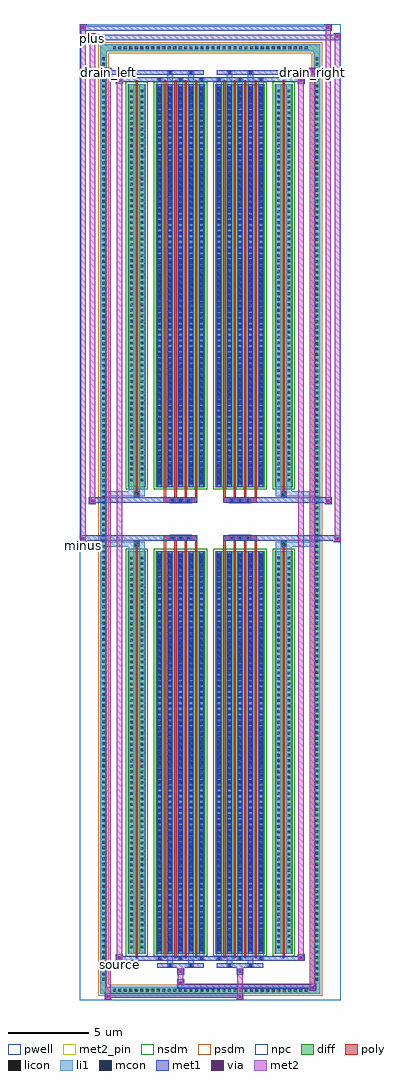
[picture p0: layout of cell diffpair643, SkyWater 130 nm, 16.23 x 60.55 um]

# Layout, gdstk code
import gdstk
lib = gdstk.Library(unit=1e-6, precision=5e-09)
def R(c, l, rs):  # rectangles x0, y0, x1, y1
    for r in rs: c.add(gdstk.rectangle(r[:2], r[2:], *l))
def A(c, l, x, y, w, h, nx, ny, dx, dy):  # array of equal rectangles
    R(c, l, [(x+i*dx, y+j*dy, x+i*dx+w, y+j*dy+h) for i in range(nx) for j in range(ny)])
def P(c, l, *ps):  # polygons
    for p in ps: c.add(gdstk.Polygon(p, *l))
pwell = (64, 44)
diff = (65, 20)
poly = (66, 20)
licon = (66, 44)
li1 = (67, 20)
mcon = (67, 44)
met1 = (68, 20)
via = (68, 44)
met2_pin = (69, 16)
met2 = (69, 20)
nsdm = (93, 44)
psdm = (94, 20)
npc = (95, 20)

diffpair643 = lib.new_cell('diffpair643')
R(diffpair643, pwell, [(-8.1,-29.84,8.1,30.71), (-5.42,-28.03,-0.01,-0.805), (0.01,-28.03,5.42,-0.805), (-5.42,0.805,-0.01,28.03), (0.01,0.805,5.42,28.03)])
A(diffpair643, diff, -6.155, -29.44, 0.41, 0.41, 36, 2, 0.34, 58.47)
A(diffpair643, diff, -6.83, -28.765, 0.41, 0.41, 1, 169, 0, 0.34)
A(diffpair643, diff, 6.42, -28.765, 0.41, 0.41, 1, 169, 0, 0.34)
R(diffpair643, diff, [(-6.155,-29.44,6.155,-29.03), (-6.83,-28.765,-6.42,28.765), (6.42,-28.765,6.83,28.765), (-5.11,-26.985,-4.01,-1.985), (-3.37,-26.985,-0.32,-1.985), (0.32,-26.985,3.37,-1.985), (4.01,-26.985,5.11,-1.985), (-5.11,1.985,-4.01,26.985), (-3.37,1.985,-0.32,26.985), (0.32,1.985,3.37,26.985), (4.01,1.985,5.11,26.985), (-6.155,29.03,6.155,29.44)])
P(diffpair643, diff, [(6.83,29.44),(-6.83,29.44),(-6.83,-29.03),(-6.42,-29.03),(-6.42,29.03),(6.42,29.03),(6.42,-29.03),(-6.42,-29.03),(-6.83,-29.03),(-6.83,-29.44),(6.83,-29.44)])
A(diffpair643, poly, -2.895, -27.235, 0.15, 25.5, 4, 2, 0.65, 28.97)
A(diffpair643, poly, 0.795, -27.235, 0.15, 25.5, 4, 2, 0.65, 28.97)
A(diffpair643, poly, -2.895, -1.735, 0.15, 0.4, 4, 2, 0.65, 3.07)
A(diffpair643, poly, 0.795, -1.735, 0.15, 0.4, 4, 2, 0.65, 3.07)
A(diffpair643, poly, -2.51, -1.335, 0.33, 0.33, 3, 2, 0.5, 2.34)
A(diffpair643, poly, 1.18, -1.335, 0.33, 0.33, 3, 2, 0.5, 2.34)
R(diffpair643, poly, [(-4.635,-27.235,-4.485,-1.735), (4.485,-27.235,4.635,-1.735), (-4.725,-1.735,-4.395,-1.405), (-4.725,-1.735,-4.395,-1.405), (4.395,-1.735,4.725,-1.405), (4.395,-1.735,4.725,-1.405), (-2.895,-1.335,-0.795,-1.005), (0.795,-1.335,2.895,-1.005), (-2.895,1.005,-0.795,1.335), (0.795,1.005,2.895,1.335), (-4.725,1.405,-4.395,1.735), (-4.725,1.405,-4.395,1.735), (4.395,1.405,4.725,1.735), (4.395,1.405,4.725,1.735), (-4.635,1.735,-4.485,27.235), (4.485,1.735,4.635,27.235)])
A(diffpair643, licon, -6.035, -29.32, 0.17, 0.17, 36, 2, 0.34, 58.47)
A(diffpair643, licon, -6.71, -28.645, 0.17, 0.17, 1, 169, 0, 0.34)
A(diffpair643, licon, 6.54, -28.645, 0.17, 0.17, 1, 169, 0, 0.34)
A(diffpair643, licon, -4.97, -26.64, 0.17, 0.17, 1, 72, 0, 0.34)
A(diffpair643, licon, -4.32, -26.64, 0.17, 0.17, 1, 72, 0, 0.34)
A(diffpair643, licon, -3.23, -26.64, 0.17, 0.17, 5, 72, 0.65, 0.34)
A(diffpair643, licon, 0.46, -26.64, 0.17, 0.17, 5, 72, 0.65, 0.34)
A(diffpair643, licon, 4.15, -26.64, 0.17, 0.17, 1, 72, 0, 0.34)
A(diffpair643, licon, 4.8, -26.64, 0.17, 0.17, 1, 72, 0, 0.34)
A(diffpair643, licon, -2.43, -1.255, 0.17, 0.17, 3, 2, 0.5, 2.34)
A(diffpair643, licon, 1.26, -1.255, 0.17, 0.17, 3, 2, 0.5, 2.34)
A(diffpair643, licon, -4.97, 2.33, 0.17, 0.17, 1, 72, 0, 0.34)
A(diffpair643, licon, -4.32, 2.33, 0.17, 0.17, 1, 72, 0, 0.34)
A(diffpair643, licon, -3.23, 2.33, 0.17, 0.17, 5, 72, 0.65, 0.34)
A(diffpair643, licon, 0.46, 2.33, 0.17, 0.17, 5, 72, 0.65, 0.34)
A(diffpair643, licon, 4.15, 2.33, 0.17, 0.17, 1, 72, 0, 0.34)
A(diffpair643, licon, 4.8, 2.33, 0.17, 0.17, 1, 72, 0, 0.34)
R(diffpair643, licon, [(-4.645,-1.655,-4.475,-1.485), (4.475,-1.655,4.645,-1.485), (-4.645,1.485,-4.475,1.655), (4.475,1.485,4.645,1.655)])
A(diffpair643, li1, -6.115, -29.4, 0.33, 0.33, 36, 2, 0.34, 58.47)
A(diffpair643, li1, -6.79, -28.725, 0.33, 0.33, 1, 169, 0, 0.34)
A(diffpair643, li1, 6.46, -28.725, 0.33, 0.33, 1, 169, 0, 0.34)
A(diffpair643, li1, -3.31, -27.36, 0.33, 0.375, 3, 2, 1.3, 54.345)
A(diffpair643, li1, -3.23, -27.36, 0.17, 0.17, 3, 2, 1.3, 54.55)
A(diffpair643, li1, 0.38, -27.36, 0.33, 0.375, 3, 2, 1.3, 54.345)
A(diffpair643, li1, 0.46, -27.36, 0.17, 0.17, 3, 2, 1.3, 54.55)
A(diffpair643, li1, -3.31, -26.985, 0.33, 25, 5, 2, 0.65, 28.97)
A(diffpair643, li1, 0.38, -26.985, 0.33, 25, 5, 2, 0.65, 28.97)
A(diffpair643, li1, -3.23, -26.81, 0.17, 0.17, 5, 69, 0.65, 0.36)
A(diffpair643, li1, -3.23, -26.81, 0.17, 24.65, 5, 2, 0.65, 28.97)
A(diffpair643, li1, 0.46, -26.81, 0.17, 0.17, 5, 69, 0.65, 0.36)
A(diffpair643, li1, 0.46, -26.81, 0.17, 24.65, 5, 2, 0.65, 28.97)
A(diffpair643, li1, -5.05, -26.72, 0.33, 0.33, 1, 72, 0, 0.34)
A(diffpair643, li1, -4.4, -26.72, 0.33, 0.33, 1, 72, 0, 0.34)
A(diffpair643, li1, -3.31, -26.72, 0.33, 0.33, 5, 72, 0.65, 0.34)
A(diffpair643, li1, 0.38, -26.72, 0.33, 0.33, 5, 72, 0.65, 0.34)
A(diffpair643, li1, 4.07, -26.72, 0.33, 0.33, 1, 72, 0, 0.34)
A(diffpair643, li1, 4.72, -26.72, 0.33, 0.33, 1, 72, 0, 0.34)
A(diffpair643, li1, -2.51, -1.335, 0.33, 0.33, 3, 2, 0.5, 2.34)
A(diffpair643, li1, 1.18, -1.335, 0.33, 0.33, 3, 2, 0.5, 2.34)
A(diffpair643, li1, -3.23, 2.16, 0.17, 0.17, 5, 69, 0.65, 0.36)
A(diffpair643, li1, 0.46, 2.16, 0.17, 0.17, 5, 69, 0.65, 0.36)
A(diffpair643, li1, -5.05, 2.25, 0.33, 0.33, 1, 72, 0, 0.34)
A(diffpair643, li1, -4.4, 2.25, 0.33, 0.33, 1, 72, 0, 0.34)
A(diffpair643, li1, -3.31, 2.25, 0.33, 0.33, 5, 72, 0.65, 0.34)
A(diffpair643, li1, 0.38, 2.25, 0.33, 0.33, 5, 72, 0.65, 0.34)
A(diffpair643, li1, 4.07, 2.25, 0.33, 0.33, 1, 72, 0, 0.34)
A(diffpair643, li1, 4.72, 2.25, 0.33, 0.33, 1, 72, 0, 0.34)
R(diffpair643, li1, [(-6.83,-29.44,-6.42,-29.03), (-6.83,-29.44,-6.42,-29.03), (-6.42,-29.44,6.42,-29.03), (6.42,-29.44,6.83,-29.03), (6.42,-29.44,6.83,-29.03), (-6.83,-29.03,-6.42,29.03), (6.42,-29.03,6.83,29.03), (-2.66,-27.79,-2.33,-26.985), (-2.58,-27.79,-2.41,-27.62), (-1.36,-27.79,-1.03,-26.985), (-1.28,-27.79,-1.11,-27.62), (1.03,-27.79,1.36,-26.985), (1.11,-27.79,1.28,-27.62), (2.33,-27.79,2.66,-26.985), (2.41,-27.79,2.58,-27.62), (-5.05,-26.985,-4.72,-1.985), (-4.4,-26.985,-4.07,-1.985), (4.07,-26.985,4.4,-1.985), (4.72,-26.985,5.05,-1.985), (-5.05,-1.985,-4.72,-1.405), (-4.4,-1.985,-4.07,-1.405), (4.07,-1.985,4.4,-1.405), (4.72,-1.985,5.05,-1.405), (-6.83,-1.735,-4.725,-1.405), (-5.05,-1.735,-4.725,-1.405), (-4.725,-1.735,-4.395,-1.405), (-4.395,-1.735,-4.07,-1.405), (4.07,-1.735,4.395,-1.405), (4.395,-1.735,4.725,-1.405), (4.395,-1.735,6.83,-1.405), (4.725,-1.735,5.05,-1.405), (-6.83,1.405,-4.725,1.735), (-5.05,1.405,-4.725,1.735), (-5.05,1.405,-4.72,1.985), (-4.725,1.405,-4.395,1.735), (-4.4,1.405,-4.07,1.985), (-4.395,1.405,-4.07,1.735), (4.07,1.405,4.395,1.735), (4.07,1.405,4.4,1.985), (4.395,1.405,4.725,1.735), (4.395,1.405,6.83,1.735), (4.72,1.405,5.05,1.985), (4.725,1.405,5.05,1.735), (-5.05,1.985,-4.72,26.985), (-4.4,1.985,-4.07,26.985), (4.07,1.985,4.4,26.985), (4.72,1.985,5.05,26.985), (-2.66,26.985,-2.33,27.79), (-1.36,26.985,-1.03,27.79), (1.03,26.985,1.36,27.79), (2.33,26.985,2.66,27.79), (-2.58,27.62,-2.41,27.79), (-1.28,27.62,-1.11,27.79), (1.11,27.62,1.28,27.79), (2.41,27.62,2.58,27.79), (-6.83,29.03,-6.42,29.44), (-6.83,29.03,-6.42,29.44), (-6.42,29.03,6.42,29.44), (6.42,29.03,6.83,29.44), (6.42,29.03,6.83,29.44)])
A(diffpair643, mcon, -3.23, -27.36, 0.17, 0.17, 3, 2, 1.3, 54.55)
A(diffpair643, mcon, 0.46, -27.36, 0.17, 0.17, 3, 2, 1.3, 54.55)
A(diffpair643, mcon, -3.23, -26.81, 0.17, 0.17, 5, 69, 0.65, 0.36)
A(diffpair643, mcon, 0.46, -26.81, 0.17, 0.17, 5, 69, 0.65, 0.36)
A(diffpair643, mcon, -2.43, -1.255, 0.17, 0.17, 3, 2, 0.5, 2.34)
A(diffpair643, mcon, 1.26, -1.255, 0.17, 0.17, 3, 2, 0.5, 2.34)
A(diffpair643, mcon, -3.23, 2.16, 0.17, 0.17, 5, 69, 0.65, 0.36)
A(diffpair643, mcon, 0.46, 2.16, 0.17, 0.17, 5, 69, 0.65, 0.36)
R(diffpair643, mcon, [(-2.58,-27.79,-2.41,-27.62), (-1.28,-27.79,-1.11,-27.62), (1.11,-27.79,1.28,-27.62), (2.41,-27.79,2.58,-27.62), (-2.58,27.62,-2.41,27.79), (-1.28,27.62,-1.11,27.79), (1.11,27.62,1.28,27.79), (2.41,27.62,2.58,27.79)])
A(diffpair643, met1, -3.29, -27.42, 0.29, 0.29, 3, 2, 1.3, 54.55)
A(diffpair643, met1, 0.4, -27.42, 0.29, 0.29, 3, 2, 1.3, 54.55)
A(diffpair643, met1, -3.29, -26.985, 0.29, 25, 5, 2, 0.65, 28.97)
A(diffpair643, met1, 0.4, -26.985, 0.29, 25, 5, 2, 0.65, 28.97)
A(diffpair643, met1, -3.29, -26.87, 0.29, 0.29, 5, 69, 0.65, 0.36)
A(diffpair643, met1, 0.4, -26.87, 0.29, 0.29, 5, 69, 0.65, 0.36)
A(diffpair643, met1, -2.49, -1.315, 0.29, 0.29, 3, 2, 0.5, 2.34)
A(diffpair643, met1, 1.2, -1.315, 0.29, 0.29, 3, 2, 0.5, 2.34)
A(diffpair643, met1, -3.29, 2.1, 0.29, 0.29, 5, 69, 0.65, 0.36)
A(diffpair643, met1, 0.4, 2.1, 0.29, 0.29, 5, 69, 0.65, 0.36)
R(diffpair643, met1, [(-6.56,-29.84,-6.13,-29.41), (1.63,-29.84,2.06,-29.41), (-6.56,-29.7,2.06,-29.41), (6.13,-29.27,6.56,-28.84), (-2.06,-29.13,6.56,-28.84), (-2.06,-28.99,-1.63,-28.56), (-2.06,-28.28,-1.63,-27.85), (1.63,-28.28,2.06,-27.85), (-3.29,-27.85,-0.4,-27.56), (-2.64,-27.85,-2.35,-27.56), (-1.34,-27.85,-1.05,-27.56), (0.4,-27.85,3.29,-27.56), (1.05,-27.85,1.34,-27.56), (2.35,-27.85,2.64,-27.56), (-5.85,-27.42,-5.42,-26.99), (-5.85,-27.42,-3.29,-27.13), (-3.29,-27.42,-0.4,-27.13), (-0.4,-27.42,0.4,-27.13), (0.4,-27.42,3.29,-27.13), (3.29,-27.42,5.85,-27.13), (5.42,-27.42,5.85,-26.99), (-8.1,-1.435,-7.67,-1.005), (7.67,-1.435,8.1,-1.005), (-8.1,-1.335,-0.795,-1.005), (-2.895,-1.335,-0.795,-1.005), (0.795,-1.335,2.895,-1.005), (0.795,-1.335,8.1,-1.005), (-7.53,0.905,-7.1,1.335), (7.1,0.905,7.53,1.335), (-7.53,1.005,-2.895,1.335), (-2.895,1.005,-0.795,1.335), (0.795,1.005,2.895,1.335), (2.895,1.005,7.53,1.335), (-5.85,26.99,-5.42,27.42), (5.42,26.99,5.85,27.42), (-5.85,27.13,-3.29,27.42), (-3.29,27.13,-0.4,27.42), (-0.4,27.13,0.4,27.42), (0.4,27.13,3.29,27.42), (3.29,27.13,5.85,27.42), (-6.56,27.56,-6.13,27.99), (-6.56,27.56,-3.29,27.85), (-3.29,27.56,-0.4,27.85), (-2.64,27.56,-2.35,27.85), (-1.34,27.56,-1.05,27.85), (0.4,27.56,3.29,27.85), (1.05,27.56,1.34,27.85), (2.35,27.56,2.64,27.85), (3.29,27.56,6.56,27.85), (6.13,27.56,6.56,27.99), (-7.53,29.71,-7.1,30.14), (-7.53,29.71,-5.42,30.04), (-5.42,29.71,5.42,30.04), (5.42,29.71,8.1,30.04), (7.67,29.71,8.1,30.14), (-8.1,30.28,-7.67,30.71), (-8.1,30.28,-5.42,30.61), (-5.42,30.28,5.42,30.61), (5.42,30.28,7.53,30.61), (7.1,30.28,7.53,30.71)])
R(diffpair643, via, [(-6.42,-29.7,-6.27,-29.55), (1.77,-29.7,1.92,-29.55), (6.27,-29.13,6.42,-28.98), (-1.92,-28.85,-1.77,-28.7), (-1.92,-28.14,-1.77,-27.99), (1.77,-28.14,1.92,-27.99), (-5.71,-27.28,-5.56,-27.13), (5.56,-27.28,5.71,-27.13), (-7.96,-1.295,-7.81,-1.145), (7.81,-1.295,7.96,-1.145), (-7.39,1.045,-7.24,1.195), (7.24,1.045,7.39,1.195), (-5.71,27.13,-5.56,27.28), (5.56,27.13,5.71,27.28), (-6.42,27.7,-6.27,27.85), (6.27,27.7,6.42,27.85), (-7.39,29.85,-7.24,30), (7.81,29.85,7.96,30), (-7.96,30.42,-7.81,30.57), (7.24,30.42,7.39,30.57)])
R(diffpair643, met2_pin, [(-5.885,-27.87,-5.385,-27.37), (-8.135,-1.885,-7.635,-1.385), (-6.595,27.44,-6.095,27.94), (6.095,27.44,6.595,27.94), (-7.565,29.59,-7.065,30.09)])
R(diffpair643, met2, [(-6.51,-29.79,-6.18,-29.46), (-6.51,-29.79,-6.18,27.94), (1.68,-29.79,2.01,-29.46), (1.68,-29.46,2.01,-28.23), (6.18,-29.22,6.51,-28.89), (6.18,-29.22,6.51,27.94), (-2.01,-28.94,-1.68,-28.61), (-2.01,-28.61,-1.68,-28.23), (-2.01,-28.23,-1.68,-27.9), (1.68,-28.23,2.01,-27.9), (-5.8,-27.37,-5.47,-27.04), (-5.8,-27.37,-5.47,27.37), (5.47,-27.37,5.8,-27.04), (5.47,-27.37,5.8,27.37), (-8.05,-1.385,-7.72,-1.055), (-8.05,-1.385,-7.72,30.66), (7.72,-1.385,8.05,-1.055), (7.72,-1.385,8.05,30.09), (-7.48,0.955,-7.15,1.285), (-7.48,0.955,-7.15,30.09), (7.15,0.955,7.48,1.285), (7.15,0.955,7.48,30.66), (-5.8,27.04,-5.47,27.37), (5.47,27.04,5.8,27.37), (-6.51,27.61,-6.18,27.94), (6.18,27.61,6.51,27.94), (-7.48,29.76,-7.15,30.09), (7.72,29.76,8.05,30.09), (-8.05,30.33,-7.72,30.66), (7.15,30.33,7.48,30.66)])
P(diffpair643, met2, [(8.05,-1.385),(8.05,-1.385),(8.05,-1.055),(8.05,-1.055)],
  [(8.05,29.76),(8.05,29.76),(8.05,30.09),(8.05,30.09)],
  [(-7.72,-1.385),(-7.72,-1.385),(-7.72,-1.055),(-7.72,-1.055)],
  [(-7.72,30.33),(-7.72,30.33),(-7.72,30.66),(-7.72,30.66)],
  [(7.48,0.955),(7.48,0.955),(7.48,1.285),(7.48,1.285)],
  [(7.48,30.33),(7.48,30.33),(7.48,30.66),(7.48,30.66)],
  [(-7.15,0.955),(-7.15,0.955),(-7.15,1.285),(-7.15,1.285)],
  [(-7.15,29.76),(-7.15,29.76),(-7.15,30.09),(-7.15,30.09)],
  [(-6.18,-29.79),(-6.18,-29.79),(-6.18,-29.46),(-6.18,-29.46)],
  [(-6.18,27.61),(-6.18,27.61),(-6.18,27.94),(-6.18,27.94)],
  [(6.51,-29.22),(6.51,-29.22),(6.51,-28.89),(6.51,-28.89)],
  [(6.51,27.61),(6.51,27.61),(6.51,27.94),(6.51,27.94)],
  [(-5.47,-27.37),(-5.47,-27.37),(-5.47,-27.04),(-5.47,-27.04)],
  [(-5.47,27.04),(-5.47,27.04),(-5.47,27.37),(-5.47,27.37)],
  [(5.8,-27.37),(5.8,-27.37),(5.8,-27.04),(5.8,-27.04)],
  [(5.8,27.04),(5.8,27.04),(5.8,27.37),(5.8,27.37)])
R(diffpair643, nsdm, [(-5.24,-27.115,-3.88,-1.855), (-3.5,-27.115,-0.19,-1.855), (0.19,-27.115,3.5,-1.855), (3.88,-27.115,5.24,-1.855), (-5.24,1.855,-3.88,27.115), (-3.5,1.855,-0.19,27.115), (0.19,1.855,3.5,27.115), (3.88,1.855,5.24,27.115)])
P(diffpair643, psdm, [(6.96,29.57),(-6.96,29.57),(-6.96,-28.9),(-6.29,-28.9),(-6.29,28.9),(6.29,28.9),(6.29,-28.9),(-6.29,-28.9),(-6.96,-28.9),(-6.96,-29.57),(6.96,-29.57)])
A(diffpair643, npc, -2.53, -1.355, 0.37, 0.37, 3, 2, 0.5, 2.34)
A(diffpair643, npc, 1.16, -1.355, 0.37, 0.37, 3, 2, 0.5, 2.34)
R(diffpair643, npc, [(-4.745,-1.755,-4.375,-1.385), (4.375,-1.755,4.745,-1.385), (-2.53,-1.355,-1.66,-0.985), (-2.53,-1.355,-1.66,-0.985), (-2.03,-1.355,-1.16,-0.985), (-2.03,-1.355,-1.16,-0.985), (1.16,-1.355,2.03,-0.985), (1.16,-1.355,2.03,-0.985), (1.66,-1.355,2.53,-0.985), (1.66,-1.355,2.53,-0.985), (-2.53,0.985,-1.66,1.355), (-2.53,0.985,-1.66,1.355), (-2.03,0.985,-1.16,1.355), (-2.03,0.985,-1.16,1.355), (1.16,0.985,2.03,1.355), (1.16,0.985,2.03,1.355), (1.66,0.985,2.53,1.355), (1.66,0.985,2.53,1.355), (-4.745,1.385,-4.375,1.755), (4.375,1.385,4.745,1.755)])
diffpair643.add(gdstk.Label('minus', (-7.885,-1.635), layer=69, texttype=5))
diffpair643.add(gdstk.Label('drain_right', (6.345,27.69), layer=69, texttype=5))
diffpair643.add(gdstk.Label('drain_left', (-6.345,27.69), layer=69, texttype=5))
diffpair643.add(gdstk.Label('source', (-5.635,-27.62), layer=69, texttype=5))
diffpair643.add(gdstk.Label('plus', (-7.315,29.84), layer=69, texttype=5))

lib.write_gds('diffpair643.gds')
